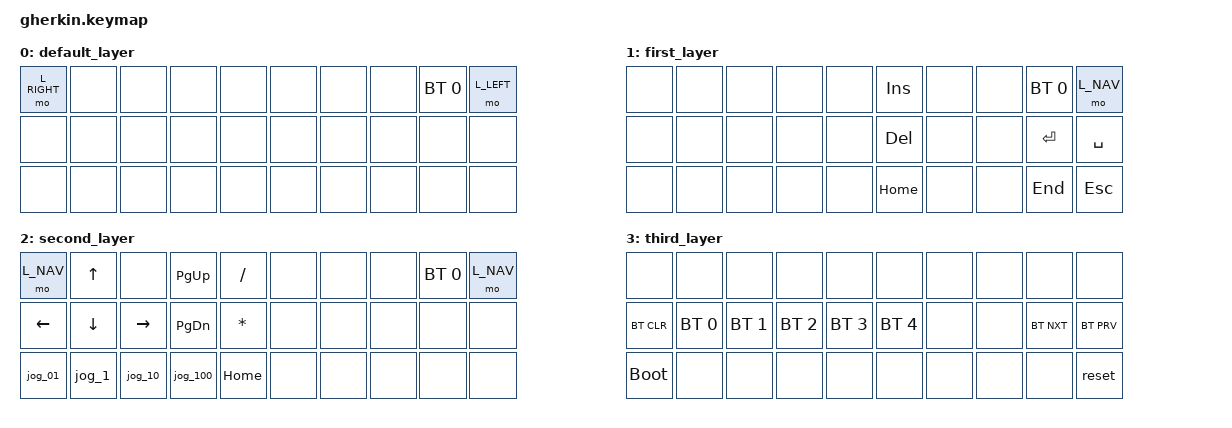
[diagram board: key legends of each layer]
/*
 * Copyright (c) 2020 The ZMK Contributors
 *
 * SPDX-License-Identifier: MIT
 */

#include <behaviors.dtsi>
#include <dt-bindings/zmk/keys.h>
#include <dt-bindings/zmk/bt.h>

#define L_DEFAULT 0
#define L_RIGHT   1
#define L_LEFT    2
#define L_NAV     3

/ {

    macros {

            ZMK_MACRO(jog_01,
                wait-ms = <30>;
                tap-ms = <40>;
                bindings = <&kp MINUS &kp MINUS &kp MINUS>;
                )
            ZMK_MACRO(jog_1,
                wait-ms = <30>;
                tap-ms = <40>;
                bindings = <&kp MINUS &kp MINUS &kp MINUS &kp EQUAL>;
                )
            ZMK_MACRO(jog_10,
                wait-ms = <30>;
                tap-ms = <40>;
                bindings = <&kp EQUAL &kp EQUAL &kp EQUAL &kp MINUS>;
                )
            ZMK_MACRO(jog_100,
                wait-ms = <30>;
                tap-ms = <40>;
                bindings = <&kp EQUAL &kp EQUAL &kp EQUAL>;
                )
        };

    keymap {
        compatible = "zmk,keymap";

        default_layer {
            bindings = <&mo L_RIGHT &none &none &none &none &none &none &none &bt BT_SEL 0  &mo L_LEFT
                        &none &none &none &none &none &none &none &none &none &none
                        &none &none &none &none &none &none &none &none &none &none
                        >;
        };

        first_layer {
            bindings = <&none &none &none &none &none &kp INS  &none &none &bt BT_SEL 0 &mo L_NAV
                        &none &none &none &none &none &kp DEL  &none &none &kp RET      &kp SPACE
                        &none &none &none &none &none &kp HOME &none &none &kp END      &kp ESC
                 >;
        };

        second_layer {
            bindings = <&mo L_NAV &kp UP   &none     &kp PG_UP &kp SLASH &none    &none &none &bt BT_SEL 0 &mo L_NAV
                        &kp LEFT  &kp DOWN &kp RIGHT &kp PG_DN &kp STAR  &none    &none &none &none        &none
                        &jog_01   &jog_1   &jog_10   &jog_100  &kp HOME  &none    &none &none &none        &none
                        >;
        };

        third_layer {
            bindings = <&none       &none        &none        &none        &none        &none        &none &none &none      &none
                        &bt BT_CLR  &bt BT_SEL 0 &bt BT_SEL 1 &bt BT_SEL 2 &bt BT_SEL 3 &bt BT_SEL 4 &none &none &bt BT_NXT &bt BT_PRV
                        &bootloader &none        &none        &none        &none        &none        &none &none &none      &reset

                        >;
        };
    };
};
